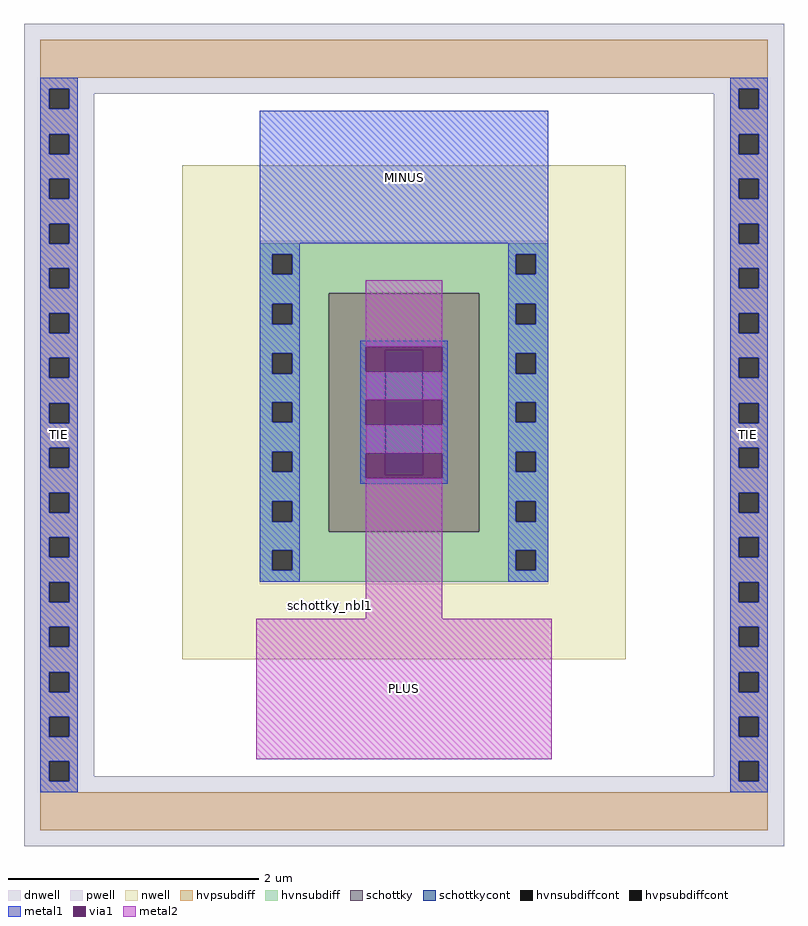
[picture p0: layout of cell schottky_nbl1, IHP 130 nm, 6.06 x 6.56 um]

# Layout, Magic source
magic
tech ihp-sg13g2
magscale 1 2
<< dnwell >>
rect -110 -84 350 464
<< nwell >>
rect -234 -204 474 584
<< pwell >>
rect -486 698 726 810
rect -486 -390 -374 698
rect 614 -390 726 698
rect -486 -502 726 -390
<< hvpsubdiff >>
rect -460 724 700 784
rect -460 706 -400 724
rect -460 674 -446 706
rect -414 674 -400 706
rect -460 634 -400 674
rect -460 602 -446 634
rect -414 602 -400 634
rect -460 563 -400 602
rect -460 531 -446 563
rect -414 531 -400 563
rect -460 491 -400 531
rect -460 459 -446 491
rect -414 459 -400 491
rect 640 706 700 724
rect 640 674 654 706
rect 686 674 700 706
rect 640 634 700 674
rect 640 602 654 634
rect 686 602 700 634
rect 640 563 700 602
rect 640 531 654 563
rect 686 531 700 563
rect 640 491 700 531
rect -460 420 -400 459
rect -460 388 -446 420
rect -414 388 -400 420
rect -460 348 -400 388
rect -460 316 -446 348
rect -414 316 -400 348
rect -460 277 -400 316
rect -460 245 -446 277
rect -414 245 -400 277
rect -460 205 -400 245
rect -460 173 -446 205
rect -414 173 -400 205
rect -460 134 -400 173
rect -460 102 -446 134
rect -414 102 -400 134
rect -460 62 -400 102
rect -460 30 -446 62
rect -414 30 -400 62
rect -460 -9 -400 30
rect -460 -41 -446 -9
rect -414 -41 -400 -9
rect -460 -81 -400 -41
rect 640 459 654 491
rect 686 459 700 491
rect 640 420 700 459
rect 640 388 654 420
rect 686 388 700 420
rect 640 348 700 388
rect 640 316 654 348
rect 686 316 700 348
rect 640 277 700 316
rect 640 245 654 277
rect 686 245 700 277
rect 640 205 700 245
rect 640 173 654 205
rect 686 173 700 205
rect 640 134 700 173
rect 640 102 654 134
rect 686 102 700 134
rect 640 62 700 102
rect 640 30 654 62
rect 686 30 700 62
rect 640 -9 700 30
rect 640 -41 654 -9
rect 686 -41 700 -9
rect -460 -113 -446 -81
rect -414 -113 -400 -81
rect -460 -152 -400 -113
rect -460 -184 -446 -152
rect -414 -184 -400 -152
rect -460 -224 -400 -184
rect -460 -256 -446 -224
rect -414 -256 -400 -224
rect -460 -295 -400 -256
rect -460 -327 -446 -295
rect -414 -327 -400 -295
rect -460 -366 -400 -327
rect -460 -398 -446 -366
rect -414 -398 -400 -366
rect -460 -416 -400 -398
rect 640 -81 700 -41
rect 640 -113 654 -81
rect 686 -113 700 -81
rect 640 -152 700 -113
rect 640 -184 654 -152
rect 686 -184 700 -152
rect 640 -224 700 -184
rect 640 -256 654 -224
rect 686 -256 700 -224
rect 640 -295 700 -256
rect 640 -327 654 -295
rect 686 -327 700 -295
rect 640 -366 700 -327
rect 640 -398 654 -366
rect 686 -398 700 -366
rect 640 -416 700 -398
rect -460 -476 700 -416
<< hvnsubdiff >>
rect -110 442 350 460
rect -110 410 -90 442
rect -58 410 298 442
rect 330 410 350 442
rect -110 380 350 410
rect -110 363 0 380
rect -110 331 -90 363
rect -58 331 0 363
rect -110 284 0 331
rect 240 363 350 380
rect 240 331 298 363
rect 330 331 350 363
rect -110 252 -90 284
rect -58 252 0 284
rect -110 206 0 252
rect -110 174 -90 206
rect -58 174 0 206
rect -110 127 0 174
rect -110 95 -90 127
rect -58 95 0 127
rect -110 48 0 95
rect 240 284 350 331
rect 240 252 298 284
rect 330 252 350 284
rect 240 206 350 252
rect 240 174 298 206
rect 330 174 350 206
rect 240 127 350 174
rect 240 95 298 127
rect 330 95 350 127
rect -110 16 -90 48
rect -58 16 0 48
rect -110 0 0 16
rect 240 48 350 95
rect 240 16 298 48
rect 330 16 350 48
rect 240 0 350 16
rect -110 -30 350 0
rect -110 -62 -90 -30
rect -58 -62 298 -30
rect 330 -62 350 -30
rect -110 -80 350 -62
<< hvpsubdiffcont >>
rect -446 674 -414 706
rect -446 602 -414 634
rect -446 531 -414 563
rect -446 459 -414 491
rect 654 674 686 706
rect 654 602 686 634
rect 654 531 686 563
rect -446 388 -414 420
rect -446 316 -414 348
rect -446 245 -414 277
rect -446 173 -414 205
rect -446 102 -414 134
rect -446 30 -414 62
rect -446 -41 -414 -9
rect 654 459 686 491
rect 654 388 686 420
rect 654 316 686 348
rect 654 245 686 277
rect 654 173 686 205
rect 654 102 686 134
rect 654 30 686 62
rect 654 -41 686 -9
rect -446 -113 -414 -81
rect -446 -184 -414 -152
rect -446 -256 -414 -224
rect -446 -327 -414 -295
rect -446 -398 -414 -366
rect 654 -113 686 -81
rect 654 -184 686 -152
rect 654 -256 686 -224
rect 654 -327 686 -295
rect 654 -398 686 -366
<< hvnsubdiffcont >>
rect -90 410 -58 442
rect 298 410 330 442
rect -90 331 -58 363
rect 298 331 330 363
rect -90 252 -58 284
rect -90 174 -58 206
rect -90 95 -58 127
rect 298 252 330 284
rect 298 174 330 206
rect 298 95 330 127
rect -90 16 -58 48
rect 298 16 330 48
rect -90 -62 -58 -30
rect 298 -62 330 -30
<< schottky >>
rect 0 290 240 380
rect 0 90 90 290
rect 150 90 240 290
rect 0 0 240 90
<< schottkycont >>
rect 90 90 150 290
<< metal1 >>
rect -460 706 -400 724
rect -460 674 -446 706
rect -414 674 -400 706
rect -460 634 -400 674
rect 640 706 700 724
rect 640 674 654 706
rect 686 674 700 706
rect -460 602 -446 634
rect -414 602 -400 634
rect -460 563 -400 602
rect -460 531 -446 563
rect -414 531 -400 563
rect -460 491 -400 531
rect -460 459 -446 491
rect -414 459 -400 491
rect -460 420 -400 459
rect -460 388 -446 420
rect -414 388 -400 420
rect -460 348 -400 388
rect -460 316 -446 348
rect -414 316 -400 348
rect -460 277 -400 316
rect -460 245 -446 277
rect -414 245 -400 277
rect -460 205 -400 245
rect -460 173 -446 205
rect -414 173 -400 205
rect -460 134 -400 173
rect -460 102 -446 134
rect -414 102 -400 134
rect -460 62 -400 102
rect -460 30 -446 62
rect -414 30 -400 62
rect -460 -9 -400 30
rect -460 -41 -446 -9
rect -414 -41 -400 -9
rect -460 -81 -400 -41
rect -110 460 350 671
rect -110 442 -46 460
rect -110 410 -90 442
rect -58 410 -46 442
rect -110 363 -46 410
rect -110 331 -90 363
rect -58 331 -46 363
rect -110 284 -46 331
rect 286 442 350 460
rect 286 410 298 442
rect 330 410 350 442
rect 286 363 350 410
rect 286 331 298 363
rect 330 331 350 363
rect -110 252 -90 284
rect -58 252 -46 284
rect -110 206 -46 252
rect -110 174 -90 206
rect -58 174 -46 206
rect -110 127 -46 174
rect -110 95 -90 127
rect -58 95 -46 127
rect -110 48 -46 95
rect 50 295 190 304
rect 50 255 59 295
rect 181 255 190 295
rect 50 210 90 255
rect 150 210 190 255
rect 50 170 59 210
rect 181 170 190 210
rect 50 125 90 170
rect 150 125 190 170
rect 50 85 59 125
rect 181 85 190 125
rect 50 76 190 85
rect 286 284 350 331
rect 286 252 298 284
rect 330 252 350 284
rect 286 206 350 252
rect 286 174 298 206
rect 330 174 350 206
rect 286 127 350 174
rect 286 95 298 127
rect 330 95 350 127
rect -110 16 -90 48
rect -58 16 -46 48
rect -110 -30 -46 16
rect -110 -62 -90 -30
rect -58 -62 -46 -30
rect -110 -80 -46 -62
rect 286 48 350 95
rect 286 16 298 48
rect 330 16 350 48
rect 286 -30 350 16
rect 286 -62 298 -30
rect 330 -62 350 -30
rect 286 -80 350 -62
rect 640 634 700 674
rect 640 602 654 634
rect 686 602 700 634
rect 640 563 700 602
rect 640 531 654 563
rect 686 531 700 563
rect 640 491 700 531
rect 640 459 654 491
rect 686 459 700 491
rect 640 420 700 459
rect 640 388 654 420
rect 686 388 700 420
rect 640 348 700 388
rect 640 316 654 348
rect 686 316 700 348
rect 640 277 700 316
rect 640 245 654 277
rect 686 245 700 277
rect 640 205 700 245
rect 640 173 654 205
rect 686 173 700 205
rect 640 134 700 173
rect 640 102 654 134
rect 686 102 700 134
rect 640 62 700 102
rect 640 30 654 62
rect 686 30 700 62
rect 640 -9 700 30
rect 640 -41 654 -9
rect 686 -41 700 -9
rect -460 -113 -446 -81
rect -414 -113 -400 -81
rect -460 -152 -400 -113
rect -460 -184 -446 -152
rect -414 -184 -400 -152
rect -460 -224 -400 -184
rect -460 -256 -446 -224
rect -414 -256 -400 -224
rect -460 -295 -400 -256
rect -460 -327 -446 -295
rect -414 -327 -400 -295
rect -460 -366 -400 -327
rect -460 -398 -446 -366
rect -414 -398 -400 -366
rect -460 -416 -400 -398
rect 640 -81 700 -41
rect 640 -113 654 -81
rect 686 -113 700 -81
rect 640 -152 700 -113
rect 640 -184 654 -152
rect 686 -184 700 -152
rect 640 -224 700 -184
rect 640 -256 654 -224
rect 686 -256 700 -224
rect 640 -295 700 -256
rect 640 -327 654 -295
rect 686 -327 700 -295
rect 640 -366 700 -327
rect 640 -398 654 -366
rect 686 -398 700 -366
rect 640 -416 700 -398
<< via1 >>
rect 59 290 181 295
rect 59 255 90 290
rect 90 255 150 290
rect 150 255 181 290
rect 59 170 90 210
rect 90 170 150 210
rect 150 170 181 210
rect 59 90 90 125
rect 90 90 150 125
rect 150 90 181 125
rect 59 85 181 90
<< metal2 >>
rect 59 295 181 401
rect 59 210 181 255
rect 59 125 181 170
rect 59 -139 181 85
rect -116 -363 356 -139
<< labels >>
flabel comment s 3 -118 3 -118 0 FreeSans 560 0 0 0 schottky_nbl1
flabel comment s 120 -251 120 -251 0 FreeSans 1120 0 0 0 PLUS
flabel comment s 670 154 670 154 0 FreeSans 300 0 0 0 TIE
flabel comment s -430 154 -430 154 0 FreeSans 300 0 0 0 TIE
flabel comment s 120 565 120 565 0 FreeSans 1054 0 0 0 MINUS
<< end >>
